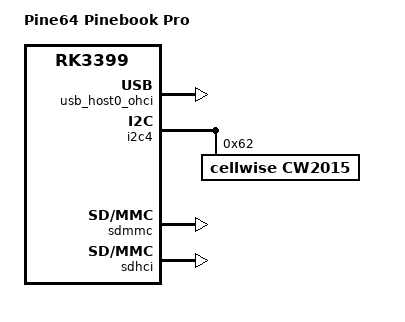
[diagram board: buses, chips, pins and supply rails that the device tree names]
/* reference: https://github.com/torvalds/linux/blob/master/arch/arm64/boot/dts/rockchip/rk3399-base.dtsi
* https://github.com/torvalds/linux/blob/master/arch/arm64/boot/dts/rockchip/rk3399-pinebook-pro.dts
*/

/dts-v1/;
#include "../dts-glue.h"

/ {
	model = "Pine64 Pinebook Pro";
	compatible = "rockchip,rk3399";
	interrupt-parent = <&gic>;
	#address-cells = <2>;
	#size-cells = <2>;
	usb_host0_ohci: usb@fe3a0000 {
		compatible = "generic-ohci";
		interrupts = <GIC_SPI 28 IRQ_TYPE_LEVEL_HIGH 0>;
		//reg = <0x0 0xfe3a0000 0x0 0x10000>;
		//status = "okay";
	};
	gic: interrupt-controller@fee00000 {
		compatible = "arm,gic-v3";
		#interrupt-cells = <4>;
		#address-cells = <2>;
		#size-cells = <2>;
		ranges;
		interrupt-controller;

		reg = <0x0 0xfee00000 0 0x10000>, /* GICD */
		      <0x0 0xfef00000 0 0xc0000>, /* GICR */
		      <0x0 0xfff00000 0 0x10000>, /* GICC */
		      <0x0 0xfff10000 0 0x10000>, /* GICH */
		      <0x0 0xfff20000 0 0x10000>; /* GICV */
		its: msi-controller@fee20000 {
			compatible = "arm,gic-v3-its";
			msi-controller;
			#msi-cells = <1>;
			reg = <0x0 0xfee20000 0x0 0x20000>;
		};
	};
	i2c4: i2c@ff3d0000 {
		compatible = "rockchip,rk3399-i2c";
		//reg = <0x0 0xff3d0000 0x0 0x1000>;
		pinctrl-names = "default";
		#address-cells = <1>;
		#size-cells = <0>;
		cw2015@62 {
			compatible = "cellwise,cw2015";
			reg = <0x62>;
		};
	};
	sdmmc: mmc@fe320000 {
		/* TODO: This is actually rockchip,rk3288-dw-mshc, requrires some extra setup/config */
		compatible = "snps,dw-mshc";
		//reg = <0x0 0xfe320000 0x0 0x4000>;
		interrupts = <GIC_SPI 65 IRQ_TYPE_LEVEL_HIGH 0>;
	};
	sdhci: mmc@fe330000 {
		compatible = "arasan,sdhci-5.1";
		//reg = <0x0 0xfe330000 0x0 0x10000>;
		interrupts = <GIC_SPI 11 IRQ_TYPE_LEVEL_HIGH 0>;
	};
};
